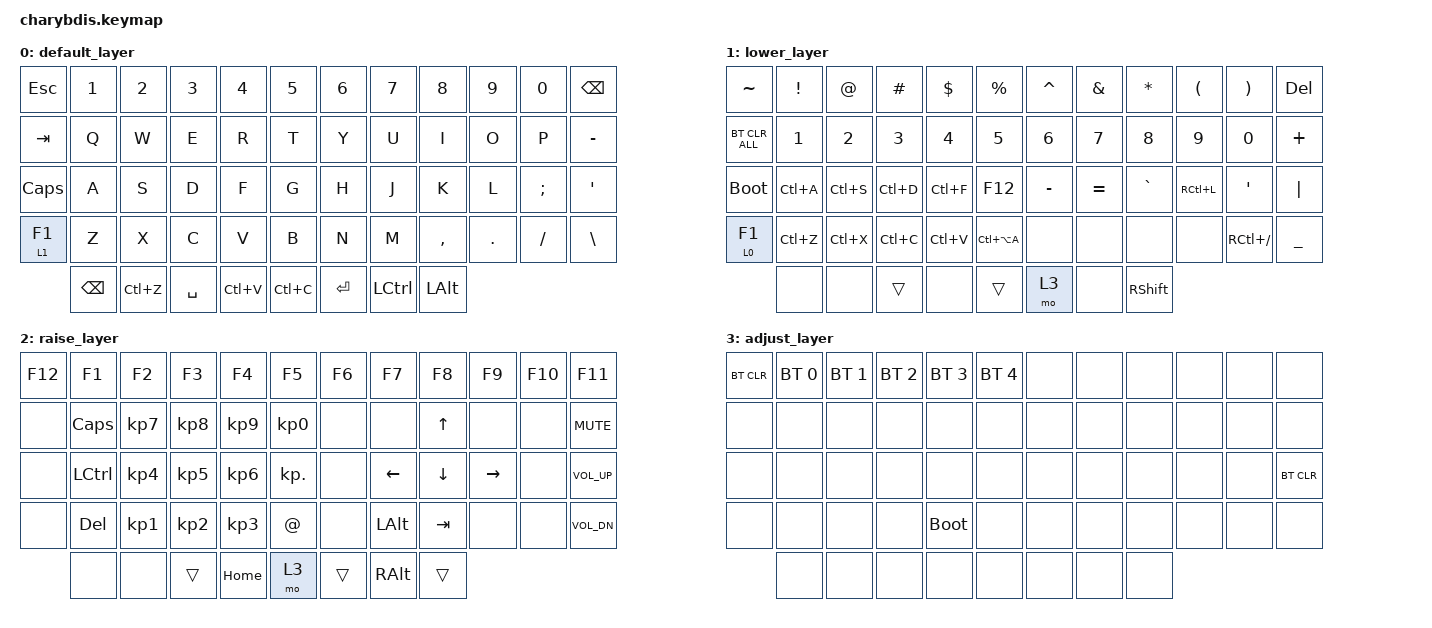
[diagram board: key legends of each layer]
#include <behaviors.dtsi>
#include <dt-bindings/zmk/bt.h>
#include <dt-bindings/zmk/keys.h>
#include <dt-bindings/zmk/outputs.h>

/ {
    combos {
        compatible = "zmk,combos";

        combo1 {
            bindings = <&kp LBKT>;
            key-positions = <15 16>;
        };

        combo2 {
            bindings = <&kp RBKT>;
            key-positions = <19 20>;
        };

        combo3 {
            bindings = <&kp LEFT_PARENTHESIS>;
            key-positions = <27 28>;
        };

        combo4 {
            bindings = <&kp RIGHT_PARENTHESIS>;
            key-positions = <31 32>;
        };

        combo5 {
            bindings = <&kp LEFT_BRACE>;
            key-positions = <39 40>;
        };

        combo6 {
            bindings = <&kp RIGHT_BRACE>;
            key-positions = <43 44>;
        };

        combo7 {
            bindings = <&kp BACKSLASH>;
            key-positions = <17 18>;
        };

        combo8 {
            bindings = <&kp PIPE>;
            key-positions = <29 30>;
        };

        combo9 {
            bindings = <&kp ESC>;
            key-positions = <13 14>;
        };

        combo10 {
            bindings = <&kp TAB>;
            key-positions = <25 26>;
        };
    };

    behaviors {
        ltq: ltq {
            compatible = "zmk,behavior-hold-tap";
            label = "LTQ";
            bindings = <&mo>, <&kp>;

            #binding-cells = <2>;
            tapping-term-ms = <200>;
            quick-tap-ms = <180>;
            global-quick-tap;
        };
    };

    keymap {
        compatible = "zmk,keymap";

        default_layer {
            bindings = <
&kp ESC       &kp N1          &kp N2       &kp N3     &kp N4     &kp N5           &kp N6     &kp N7        &kp N8     &kp N9   &kp N0    &kp BSPC
&kp TAB       &kp Q           &kp W        &kp E      &kp R      &kp T            &kp Y      &kp U         &kp I      &kp O    &kp P     &kp MINUS
&kp CAPSLOCK  &kp A           &kp S        &kp D      &kp F      &kp G            &kp H      &kp J         &kp K      &kp L    &kp SEMI  &kp SQT
&lt 1 F1      &kp Z           &kp X        &kp C      &kp V      &kp B            &kp N      &kp M         &kp COMMA  &kp DOT  &kp FSLH  &kp BSLH
              &kp BACKSPACE   &kp LC(Z)    &kp SPACE  &kp LC(V)  &kp LC(C)        &kp ENTER  &kp LCTRL     &kp LEFT_ALT
            >;
        };

        lower_layer {
            bindings = <
&kp TILDE       &kp EXCL      &kp AT        &kp HASH      &kp DLLR      &kp PRCNT        &kp CARET     &kp AMPS      &kp ASTRK        &kp LPAR      &kp RPAR       &kp DEL
&bt BT_CLR_ALL  &kp NUMBER_1  &kp NUMBER_2  &kp NUMBER_3  &kp NUMBER_4  &kp NUMBER_5     &kp NUMBER_6  &kp NUMBER_7  &kp NUMBER_8     &kp NUMBER_9  &kp NUMBER_0   &kp PLUS
&bootloader     &kp LC(A)     &kp LC(S)     &kp LC(D)     &kp LC(F)     &kp F12          &kp MINUS     &kp EQUAL     &kp GRAVE        &kp RC(L)     &kp SQT        &kp PIPE
&lt 0 F1        &kp LC(Z)     &kp LC(X)     &kp LC(C)     &kp LC(V)     &kp LC(LA(A))    &none         &none         &none            &none         &kp RC(SLASH)  &kp UNDER
                &none         &none         &trans        &none         &trans           &mo 3         &none         &kp RIGHT_SHIFT
            >;
        };

        raise_layer {
            bindings = <
&kp F12  &kp F1     &kp F2           &kp F3           &kp F4           &kp F5             &kp F6     &kp F7        &kp F8    &kp F9     &kp F10  &kp F11
&none    &kp CAPS   &kp KP_NUMBER_7  &kp KP_NUMBER_8  &kp KP_NUMBER_9  &kp KP_NUMBER_0    &none      &none         &kp UP    &none      &none    &kp C_MUTE
&none    &kp LCTRL  &kp KP_NUMBER_4  &kp KP_NUMBER_5  &kp KP_NUMBER_6  &kp KP_DOT         &none      &kp LEFT      &kp DOWN  &kp RIGHT  &none    &kp C_VOL_UP
&none    &kp DEL    &kp KP_NUMBER_1  &kp KP_NUMBER_2  &kp KP_NUMBER_3  &kp AT_SIGN        &none      &kp LEFT_ALT  &kp TAB   &none      &none    &kp C_VOL_DN
         &none      &none            &trans           &kp HOME         &mo 3              &trans     &kp RALT      &trans
            >;
        };

        adjust_layer {
            bindings = <
&bt BT_CLR  &bt BT_SEL 0  &bt BT_SEL 1  &bt BT_SEL 2  &bt BT_SEL 3  &bt BT_SEL 4    &none  &none  &none  &none  &none  &none
&none       &none         &none         &none         &none         &none           &none  &none  &none  &none  &none  &none
&none       &none         &none         &none         &none         &none           &none  &none  &none  &none  &none  &bt BT_CLR
&none       &none         &none         &none         &bootloader   &none           &none  &none  &none  &none  &none  &none
            &none         &none         &none         &none         &none           &none  &none  &none
            >;
        };
    };
};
